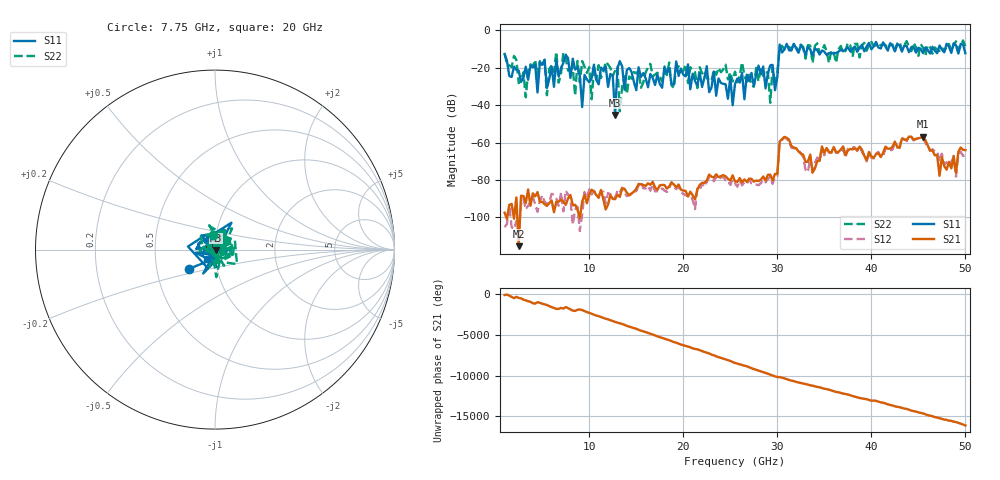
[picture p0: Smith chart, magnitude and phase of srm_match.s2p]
# GHz S RI R 50.0
!freq ReS11 ImS11 ReS21 ImS21 ReS12 ImS12 ReS22 ImS22
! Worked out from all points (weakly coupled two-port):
!   197 points, 1 GHz to 50 GHz, reference 50 ohm
!   highest |S21| = -56.71 dB at 45.5 GHz (marker M1); lowest = -115.4 dB at 2.5 GHz (marker M2)
!   lowest |S11| = -45.2 dB at 12.75 GHz (marker M3), VSWR 1.01, Z = 50.5 - j0.191 ohm
!   |S11| at or under -10 dB: start of sweep to 30.21 GHz; 30.4 GHz to 30.76 GHz (364.3 MHz wide, 1.19 % of centre); 34.09 GHz to 37.28 GHz (3.192 GHz wide, 8.95 % of centre) (the widest 3 of 23)
!   |S22| runs from -43.2 to -5.3 dB; largest |S21 - S12| = 0.0027
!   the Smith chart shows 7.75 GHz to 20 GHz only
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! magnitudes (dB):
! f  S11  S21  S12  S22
! 1 GHz  -12.6  -97.5  -105.3  -12.3
! 2.5 GHz  -21.6  -115.4  -107.6  -28.1
! 4.5 GHz  -33.2  -86.5  -97.0  -24.0
! 7.5 GHz  -12.9  -93.3  -85.6  -14.8
! 8.5 GHz  -20.9  -93.2  -95.9  -34.8
! 9.25 GHz  -41.0  -91.6  -98.4  -16.4
! 10.25 GHz  -25.6  -85.2  -87.7  -36.8
! 11.75 GHz  -19.1  -95.7  -92.4  -16.7
! 12.75 GHz  -45.2  -90.2  -89.6  -21.5
! 13.25 GHz  -16.4  -89.0  -86.7  -43.2
! 13.75 GHz  -31.7  -84.6  -87.1  -24.5
! 17.5 GHz  -28.6  -82.8  -85.8  -24.7
! 25.5 GHz  -28.7  -80.7  -81.8  -22.1
! 29 GHz  -23.0  -77.2  -79.4  -22.5
! 29.25 GHz  -18.7  -77.2  -78.4  -38.7
! 29.75 GHz  -32.0  -76.7  -78.4  -29.5
! 30.75 GHz  -10.1  -56.9  -57.5  -10.2
! 33.75 GHz  -13.4  -75.9  -76.0  -17.4
! 42 GHz  -6.8  -63.2  -64.4  -7.5
! 45.5 GHz  -12.1  -56.7  -57.9  -9.2
! 47.25 GHz  -8.0  -77.7  -70.1  -10.9
! 50 GHz  -12.1  -64.0  -66.6  -8.5
